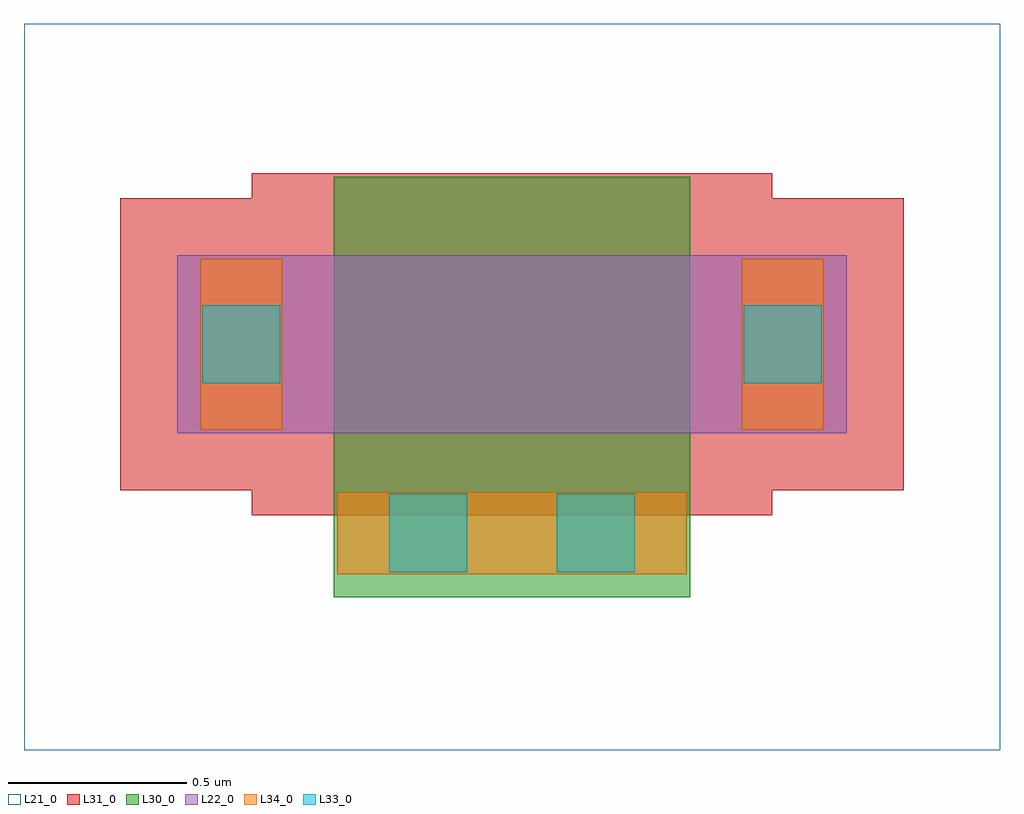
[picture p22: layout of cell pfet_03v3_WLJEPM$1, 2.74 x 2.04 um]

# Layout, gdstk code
import gdstk
lib = gdstk.Library(unit=1e-6, precision=1e-09)
def R(c, l, rs):  # rectangles x0, y0, x1, y1
    for r in rs: c.add(gdstk.rectangle(r[:2], r[2:], *l))
L21_0 = (21, 0)
L22_0 = (22, 0)
L30_0 = (30, 0)
L31_0 = (31, 0)
L33_0 = (33, 0)
L34_0 = (34, 0)

pfet_03v3_wljepm_1 = lib.new_cell('pfet_03v3_WLJEPM$1')
R(pfet_03v3_wljepm_1, L21_0, [(-1.37,-1.02,1.37,1.02)])
R(pfet_03v3_wljepm_1, L22_0, [(-0.94,-0.13,0.94,0.37)])
R(pfet_03v3_wljepm_1, L30_0, [(-0.5,-0.59,0.5,0.59)])
R(pfet_03v3_wljepm_1, L31_0, [(-0.73,-0.36,0.73,-0.29), (-1.1,-0.29,1.1,0.53), (-0.73,0.53,0.73,0.6)])
R(pfet_03v3_wljepm_1, L33_0, [(-0.345,-0.52,-0.125,-0.3), (0.125,-0.52,0.345,-0.3), (-0.87,0.01,-0.65,0.23), (0.65,0.01,0.87,0.23)])
R(pfet_03v3_wljepm_1, L34_0, [(-0.49,-0.525,0.49,-0.295), (-0.875,-0.12,-0.645,0.36), (0.645,-0.12,0.875,0.36)])

lib.write_gds('pfet_03v3_WLJEPM_1.gds')
